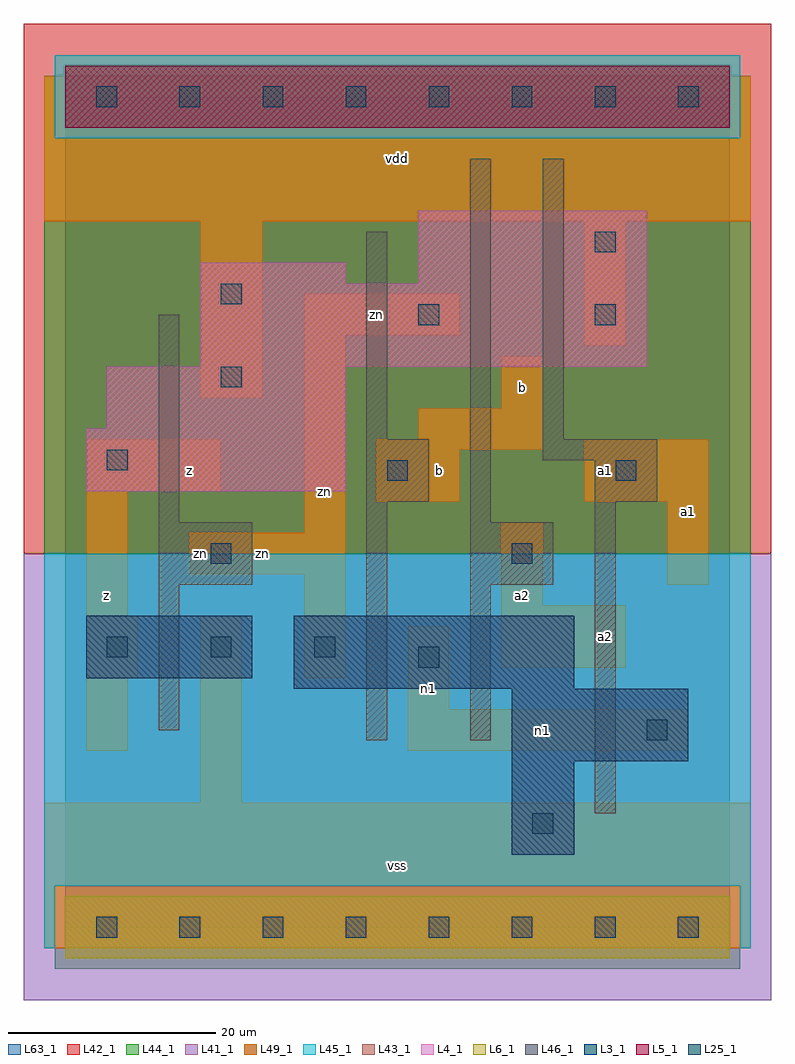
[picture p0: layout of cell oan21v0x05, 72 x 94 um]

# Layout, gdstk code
import gdstk
lib = gdstk.Library(unit=1e-6, precision=1e-09)
def R(c, l, rs):  # rectangles x0, y0, x1, y1
    for r in rs: c.add(gdstk.rectangle(r[:2], r[2:], *l))
def A(c, l, x, y, w, h, nx, ny, dx, dy):  # array of equal rectangles
    R(c, l, [(x+i*dx, y+j*dy, x+i*dx+w, y+j*dy+h) for i in range(nx) for j in range(ny)])
L3_1 = (3, 1)
L4_1 = (4, 1)
L5_1 = (5, 1)
L6_1 = (6, 1)
L25_1 = (25, 1)
L41_1 = (41, 1)
L42_1 = (42, 1)
L43_1 = (43, 1)
L44_1 = (44, 1)
L45_1 = (45, 1)
L46_1 = (46, 1)
L49_1 = (49, 1)
L63_1 = (63, 1)

oan21v0x05 = lib.new_cell('oan21v0x05')
R(oan21v0x05, L3_1, [(43,7,49,16), (43,16,60,23), (22,23,49,30), (2,24,18,30)])
R(oan21v0x05, L4_1, [(2,42,27,48), (4,48,27,54), (13,54,56,62), (13,62,27,64), (34,62,56,69)])
R(oan21v0x05, L5_1, [(0,77,64,83)])
R(oan21v0x05, L6_1, [(0,-3,64,3), (0,-3,64,3)])
A(oan21v0x05, L25_1, 3, -1, 2, 2, 8, 2, 8, 80)
A(oan21v0x05, L25_1, 4, 26, 2, 2, 3, 1, 10, 0)
R(oan21v0x05, L25_1, [(45,9,47,11), (56,18,58,20), (34,25,36,27), (14,35,16,37), (43,35,45,37), (31,43,33,45), (53,43,55,45), (4,44,6,46), (15,52,17,54), (34,58,36,60), (51,58,53,60), (15,60,17,62), (51,65,53,67)])
R(oan21v0x05, L41_1, [(-4,-7,68,36)])
R(oan21v0x05, L42_1, [(-4,36,68,87)])
R(oan21v0x05, L43_1, [(0,-3,64,3), (43,7,49,16), (43,16,60,23), (22,23,49,30), (2,24,18,30), (2,42,27,48), (4,48,27,54), (13,54,56,62), (13,62,27,64), (34,62,56,69), (0,77,64,83)])
R(oan21v0x05, L44_1, [(-1,-4,65,4), (-2,36,66,76), (-2,76,-1,82), (65,76,66,82)])
R(oan21v0x05, L45_1, [(-2,-2,-1,4), (65,-2,66,4), (-2,4,66,36), (-1,76,65,84)])
R(oan21v0x05, L46_1, [(51,11,53,41), (29,18,31,41), (39,18,41,33), (9,19,11,33), (9,33,18,39), (39,33,47,39), (9,39,11,59), (39,39,41,74), (29,41,35,47), (51,41,57,45), (46,45,57,47), (29,47,31,67), (46,47,48,74)])
R(oan21v0x05, L49_1, [(-2,-2,66,12), (13,12,17,30), (2,17,6,24), (33,17,60,21), (33,21,37,29), (2,24,7,30), (23,24,27,34), (42,25,54,31), (2,30,6,42), (42,31,46,39), (58,33,62,41), (12,34,27,38), (23,38,27,57), (30,41,38,46), (50,41,62,47), (2,42,15,47), (30,46,46,47), (34,47,46,50), (42,50,46,55), (13,51,19,68), (50,56,54,68), (23,57,38,61), (-2,68,66,82)])
R(oan21v0x05, L63_1, [(0,0,64,80)])
oan21v0x05.add(gdstk.Label('zn', (13,36), layer=46, texttype=1))
oan21v0x05.add(gdstk.Label('z', (4,32), layer=49, texttype=1))
oan21v0x05.add(gdstk.Label('z', (12,44), layer=49, texttype=1))
oan21v0x05.add(gdstk.Label('zn', (19,36), layer=49, texttype=1))
oan21v0x05.add(gdstk.Label('zn', (25,42), layer=49, texttype=1))
oan21v0x05.add(gdstk.Label('vss', (32,6), layer=49, texttype=1))
oan21v0x05.add(gdstk.Label('n1', (35,23), layer=49, texttype=1))
oan21v0x05.add(gdstk.Label('a2', (44,32), layer=49, texttype=1))
oan21v0x05.add(gdstk.Label('b', (36,44), layer=49, texttype=1))
oan21v0x05.add(gdstk.Label('zn', (30,59), layer=49, texttype=1))
oan21v0x05.add(gdstk.Label('b', (44,52), layer=49, texttype=1))
oan21v0x05.add(gdstk.Label('vdd', (32,74), layer=49, texttype=1))
oan21v0x05.add(gdstk.Label('n1', (46,19), layer=49, texttype=1))
oan21v0x05.add(gdstk.Label('a2', (52,28), layer=49, texttype=1))
oan21v0x05.add(gdstk.Label('a1', (60,40), layer=49, texttype=1))
oan21v0x05.add(gdstk.Label('a1', (52,44), layer=49, texttype=1))

lib.write_gds('oan21v0x05.gds')
